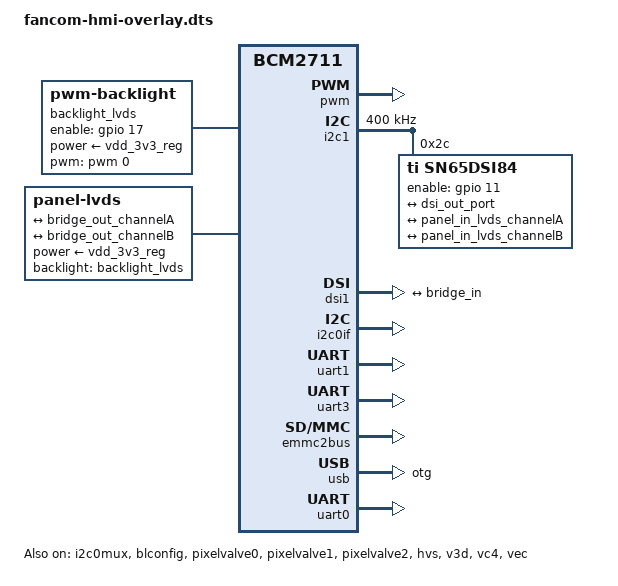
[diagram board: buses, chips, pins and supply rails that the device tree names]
/*
 * vc4-kms-dsi-sn65dsi8x-overlay.dts
 */

#include <dt-bindings/gpio/gpio.h>
#include <dt-bindings/pinctrl/bcm2835.h>
#include <dt-bindings/interrupt-controller/irq.h>
#include <dt-bindings/clock/bcm2835.h>
#include <dt-bindings/interrupt-controller/arm-gic.h>

/dts-v1/;
/plugin/;

/ {
	compatible = "raspberrypi,4-compute-module", "brcm,bcm2835", "brcm,bcm2711";

	/* PWM0 function */
	fragment@0 {
		target = <&gpio>;
		__overlay__ {
			pwm_pins: pwm_pins {
				brcm,pins = <18>; /* pin 49 */
				brcm,function = <BCM2835_FSEL_ALT5>;
			};

			dsi_lvds_en: dsi_lvds_en {
				brcm,pins = <11>;
				brcm,function = <BCM2835_FSEL_GPIO_OUT>;
			};

			i2c1_pins: i2c1 {
				brcm,pins = <44 45>;
				brcm,function = <BCM2835_FSEL_ALT2>;
				brcm,pull = <BCM2835_PUD_UP>;
			};

			backlight_en: backlight_en {
				brcm,pins = <17>; /* pin 50 */
				brcm,function = <BCM2835_FSEL_GPIO_OUT>;
			};
		};
	};

	fragment@1 {
		target = <&pwm>;
		__overlay__ {
			pinctrl-names = "default";
			pinctrl-0 = <&pwm_pins>;
			assigned-clock-rates = <100000000>;
			status = "okay";
		};
	};

	fragment@2 {
		target-path = "/";
		__overlay__ {
			// Becahse RPI does stupid stuff
			memreserve = <0x30000000 0x10000000>;
			system {
				linux,serial = <0x10000000 0xf00bef2c>;
				linux,revision = <0x00c03140>;
			};

			axi {
				vc_mem {
					reg = <0x3ec00000 0x40000000 0xc0000000>;
				};
			};

			//FANCOM
			backlight_lvds: backlight {
				compatible = "pwm-backlight";
				pwms = <&pwm 0 5000000>; /* 200Hz */
				brightness-levels = <0 1000>;
				num-interpolated-steps = <1000>;
				default-brightness-level = <800>;
				enable-gpios = <&gpio 17 GPIO_ACTIVE_HIGH>;

				power-supply = <&vdd_3v3_reg>;
				status = "okay";
			};

			panel: panel {
				compatible = "panel-lvds";
				status = "okay";

				backlight = <&backlight_lvds>;
				power-supply = <&vdd_3v3_reg>;

				width-mm = <344>;
				height-mm = <194>;

				data-mapping = "vesa-24";

				panel-timing {
					/* clock frequency of 70.93Mhz in the datasheet is for single LVDS channel */
					/* since we use dual LVDS channel, the clock frequency is 2*70.93Mhz */
					/* the bridge driver will correct this */
					/* vc4_dsi.c: however, the dsi parent_rate is 3Ghz and the dsi-divider is fixed to (24/#nr-data lanes) */
					/* (3Ghz / 3)/7 = 142.86Mhz. (142.86Mhz * 24bpp) / 8 = 571Mhz DSI clock */
					/* (3Ghz / 4)/7 = 107.14Mhz. (107.14Mhz * 24bpp) / 8 = 428.57Mhz DSI clock */
					/* minimum required DSI clock is (48bits/(3 lanes * 2)) * 60Mhz = 480Mhz
					/* we'll hence need a 571Mhz capped to 500Mhz DSI clock, with a divider of 8 in the bridge, resulting in 62.5Mhz */
					/* 62.5Mhz * 2 = 125Mhz */
					clock-frequency = <125000000>;

					/* the hactive and porches in the datasheet are for a single LVDS channel */
					/* since we use dual LVDS channel, double everything */
					hactive = <1920>;
					hsync-len = <60>;
					hfront-porch = <60>;
					hback-porch = <60>;

					vactive = <1080>;
					vsync-len = <4>;
					vfront-porch = <3>;
					vback-porch = <3>;

					hsync-active = <0>;
					vsync-active = <0>;
					de-active = <1>;
					pixelclk-active = <1>;
				};

				ports {
					#address-cells = <1>;
					#size-cells = <0>;

					port@0 {
						reg = <0>;
						dual-lvds-odd-pixels;
						panel_in_lvds_channelA: endpoint {
							remote-endpoint = <&bridge_out_channelA>;
						};
					};

					port@1 {
						reg = <1>;
						dual-lvds-even-pixels;
						panel_in_lvds_channelB: endpoint {
							remote-endpoint = <&bridge_out_channelB>;
						};
					};
				};
			};
		};
	};

	fragment@3 {
		target = <&i2c1>;
		__overlay__ {
			#gpio-cells = <2>;
			#address-cells = <1>;
			#size-cells = <0>;
			status = "okay";

			pinctrl-names = "default";
			pinctrl-0 = <&i2c1_pins>;
			clock-frequency = <400000>;

			sn65dsi84@2c {
				compatible = "ti,sn65dsi84";
				reg = <0x2c>;
				enable-gpios = <&gpio 11 GPIO_ACTIVE_HIGH>;

				pinctrl-names = "default";
				pinctrl-0 = <&dsi_lvds_en>;
				status = "okay";

				interrupts = <GIC_SPI 36 IRQ_TYPE_LEVEL_HIGH>;

				ports {
					#address-cells = <1>;
					#size-cells = <0>;

					port@0 {
						reg = <0>;
						bridge_in: endpoint {
							remote-endpoint = <&dsi_out_port>;
							data-lanes = <0 1 2>;
						};
					};

					port@2 {
						reg = <2>;
						bridge_out_channelA: endpoint {
							remote-endpoint = <&panel_in_lvds_channelA>;
						};
					};

					port@3 {
						reg = <3>;
						bridge_out_channelB: endpoint {
							remote-endpoint = <&panel_in_lvds_channelB>;
						};
					};
				};
			};
		};
	};

	fragment@4 {
		target = <&dsi1>;
		__overlay__ {
			#address-cells = <1>;
			#size-cells = <0>;
			status = "okay";
			port {
				dsi_out_port: endpoint {
					remote-endpoint = <&bridge_in>;
					data-lanes = <0 1 2>;
				};
			};
		};
	};

	fragment@5 {
		target = <&i2c0if>;
		__overlay__ {
			status = "okay";
		};
	};

	fragment@6 {
		target = <&i2c0mux>;
		__overlay__ {
			status = "okay";
		};
	};

	fragment@7 { /* Debug port */
		target = <&uart1_pins>;
		__overlay__ {
			brcm,pins = <14 15>; /* pin 51, 55 */
			brcm,function = <BCM2835_FSEL_ALT0>;
			brcm,pull = <0 2>;
		};
	};

	fragment@8 { /* Debug port */
		target = <&uart1>;
		__overlay__ {
			status = "okay";
			pinctrl-names = "default";
			pinctrl-0 = <&uart1_pins>;
		};
	};

	fragment@9 { /* HPAN */
		target = <&uart3_pins>;
		__overlay__ {
			brcm,pins = <4 5 6 7>; /* pin 54, 34, 30, 37 */
			brcm,function = <
				BCM2835_FSEL_GPIO_OUT
				BCM2835_FSEL_GPIO_OUT
				BCM2835_FSEL_GPIO_IN
				BCM2835_FSEL_GPIO_OUT /* Uncertain. */
			>;
			brcm,pull = <0 2 2 0>;
		};
	};

	fragment@10 { /* HPAN */
		target = <&uart3>;
		__overlay__ {
			pinctrl-names = "default";
			pinctrl-0 = <&uart3_pins>;
			status = "okay";
		};
	};

	/* Fixes because RPI does stupid stuff. */
	fragment@1000 {
		target = <&phy1>;
		__overlay__ {
			reg = <0>;
		};
	};

	fragment@1001 {
		target = <&emmc2bus>;
		__overlay__ {
			dma-ranges = <0x00000000 0x00000000 0x00000000 0x00000000 0xfc000000>;
			status = "okay";
		};
	};

	fragment@1002 {
		target-path = "/";
		__overlay__ {
			memory@0 {
				device_type = "memory";
				reg = <0x00000000 0x00000000 0x30000000 0x00000000 0x40000000 0xbc000000>;
			};
		};
	};

	fragment@1003 {
		target = <&dma>;
		__overlay__ {
			brcm,dma-channel-mask = <0x00003000>;
		};
	};

	fragment@1004 { /* nvram */
		target = <&blconfig>;
		__overlay__ {
			reg = <0x00000000 0x3ef5c100 0x00000056>;
			status = "okay";
		};
	};

	fragment@1005 {
		taget = <&pcie0>;
		__overlay__ {
			compatible = "brcm,bcm2711-pcie", "brcm,bcm7445-pcie";
			dma-ranges = <0x02000000 0x00000004 0x00000000 0x00000000 0x00000000 0x00000001 0x00000000>;
		};
	};

	/* cma-overlay.dts */
	fragment@2000 {
		target = <&cma>;
		__overlay__ {
			/*
			 * The default size when using this overlay is 256 MB
			 * and should be kept as is for backwards
			 * compatibility.
			 */
			size = <0x10000000>;
		};
	};

	fragment@3002 {
		target = <&fb>;
		__overlay__  {
			status = "disabled";
		};
	};

	fragment@3003 {
		target = <&pixelvalve0>;
		__overlay__  {
			status = "okay";
		};
	};

	fragment@3004 {
		target = <&pixelvalve1>;
		__overlay__  {
			status = "okay";
		};
	};

	fragment@3005 {
		target = <&pixelvalve2>;
		__overlay__  {
			status = "okay";
		};
	};

	fragment@3006 {
		target = <&hvs>;
		__overlay__  {
			status = "okay";
		};
	};

	fragment@3008 {
		target = <&v3d>;
		__overlay__  {
			status = "okay";
		};
	};

	fragment@3009 {
		target = <&vc4>;
		__overlay__  {
			status = "okay";
		};
	};

	fragment@3010 {
		target = <&clocks>;
		__overlay__  {
			claim-clocks = <
				BCM2835_PLLD_DSI0
				BCM2835_PLLD_DSI1
				BCM2835_PLLH_AUX
				BCM2835_PLLH_PIX
			>;
		};
	};

	fragment@3011 {
		target = <&vec>;
		__overlay__  {
			status = "okay";
		};
	};

	fragment@3012 {
		target = <&txp>;
		__overlay__  {
			status = "disabled"; /* Was "okay" */
		};
	};

	/* dwc2-overlay.dts */
	fragment@4000 {
		target = <&usb>;
		__overlay__ {
			#address-cells = <1>;
			#size-cells = <1>;
			compatible = "brcm,bcm2835-usb";
			dr_mode = "otg";
			g-np-tx-fifo-size = <32>;
			g-rx-fifo-size = <558>;
			g-tx-fifo-size = <512 512 512 512 512 256 256>;
			status = "okay";
		};
	};

	/* disable-bt-overlay.dts */
	fragment@5000 {
		target = <&uart0>;
		__overlay__ {
			pinctrl-names = "default";
			pinctrl-0 = <&uart0_pins>;
			status = "okay";
		};
	};

	fragment@5001 {
		target = <&bt>;
		__overlay__ {
			status = "disabled";
		};
	};

	fragment@5002 {
		target = <&uart0_pins>;
		__overlay__ {
			brcm,pins;
			brcm,function;
			brcm,pull;
		};
	};

	fragment@5003 {
		target = <&bt_pins>;
		__overlay__ {
			brcm,pins;
			brcm,function;
			brcm,pull;
		};
	};

	fragment@5004 {
		target-path = "/aliases";
		__overlay__ {
			serial0 = "/soc/serial@7e201000";
			serial1 = "/soc/serial@7e215040";
		};
	};

	__overrides__ {

		/* Because RPI does stupid stuff. */
		i2c_arm_baudrate = [00 00 00 35 63 6c 6f 63 6b 2d 66 72 65 71 75 65 6e 63 79 3a 30 00];
		i2c_baudrate = [00 00 00 35 63 6c 6f 63 6b 2d 66 72 65 71 75 65 6e 63 79 3a 30 00];
		i2c_arm = [00 00 00 35 73 74 61 74 75 73 00];
		i2c = [00 00 00 35 73 74 61 74 75 73 00];
		i2c_vc_baudrate = [00 00 00 10 63 6c 6f 63 6b 2d 66 72 65 71 75 65 6e 63 79 3a 30 00];
		i2c_vc = [00 00 00 10 73 74 61 74 75 73 00 00 00 00 34 73 74 61 74 75 73 00];

		/* cma-overlay.dts */
		cma-512 = <&cma>,"size:0=",<0x20000000>;
		cma-448 = <&cma>,"size:0=",<0x1c000000>;
		cma-384 = <&cma>,"size:0=",<0x18000000>;
		cma-320 = <&cma>,"size:0=",<0x14000000>;
		cma-256 = <&cma>,"size:0=",<0x10000000>;
		cma-192 = <&cma>,"size:0=",<0xC000000>;
		cma-128 = <&cma>,"size:0=",<0x8000000>;
		cma-96  = <&cma>,"size:0=",<0x6000000>;
		cma-64  = <&cma>,"size:0=",<0x4000000>;
		cma-size = <&cma>,"size:0"; /* in bytes, 4MB aligned */
		cma-default = <0>,"-0";

		/* vc4-kms-v3d.dts */
		audio   = <0>,"!13", <0>,"=14";
		noaudio = <0>,"=13", <0>,"!14";
		nocomposite = <0>, "!11";

		/* dwc2-overlay.dts */
		dr_mode = <&usb>, "dr_mode";
		g-np-tx-fifo-size = <&usb>,"g-np-tx-fifo-size:0";
		g-rx-fifo-size = <&usb>,"g-rx-fifo-size:0";
	};
};
